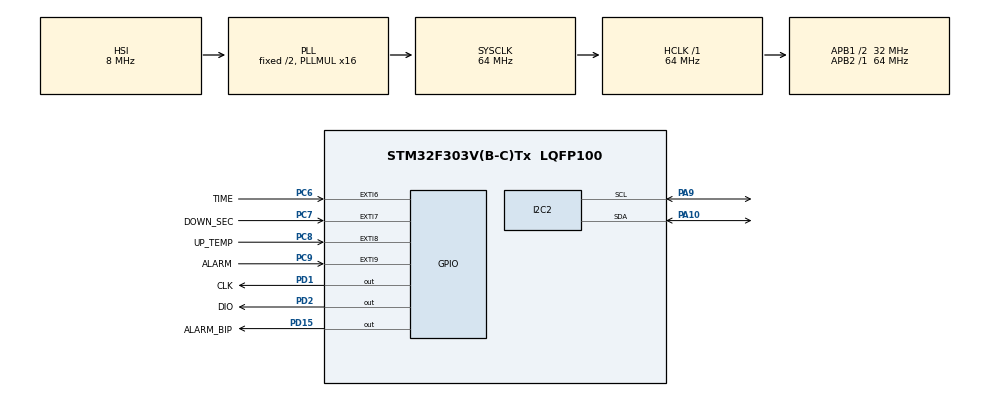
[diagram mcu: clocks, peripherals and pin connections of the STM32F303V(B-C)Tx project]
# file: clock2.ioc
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I2C2.Timing=0x2000090E
Mcu.Family=STM32F3
Mcu.Name=STM32F303V(B-C)Tx
Mcu.Package=LQFP100
NVIC.EXTI9_5_IRQn=true\:0\:0\:false\:false\:true
NVIC.I2C2_ER_IRQn=true\:0\:0\:false\:false\:true
NVIC.I2C2_EV_IRQn=true\:0\:0\:false\:false\:true
NVIC.PriorityGroup=NVIC_PRIORITYGROUP_4
PA10.Mode=I2C
PA10.Signal=I2C2_SDA
PA9.Mode=I2C
PA9.Signal=I2C2_SCL
PC6.GPIO_Label=TIME
PC6.Signal=GPXTI6
PC7.GPIO_Label=DOWN_SEC
PC7.Signal=GPXTI7
PC8.GPIO_Label=UP_TEMP
PC8.Signal=GPXTI8
PC9.GPIO_Label=ALARM
PC9.Signal=GPXTI9
PD1.GPIO_Label=CLK
PD1.Signal=GPIO_Output
PD15.GPIO_Label=ALARM_BIP
PD15.Signal=GPIO_Output
PD2.GPIO_Label=DIO
PD2.Signal=GPIO_Output
ProjectManager.HeapSize=0x200
ProjectManager.StackSize=0x400
ProjectManager.TargetToolchain=SW4STM32
RCC.AHBFreq_Value=64000000
RCC.APB1CLKDivider=RCC_HCLK_DIV2
RCC.APB1Freq_Value=32000000
RCC.APB1TimFreq_Value=64000000
RCC.APB2Freq_Value=64000000
RCC.APB2TimFreq_Value=64000000
RCC.CortexFreq_Value=64000000
RCC.HCLKFreq_Value=64000000
RCC.HSE_VALUE=8000000
RCC.HSI_VALUE=8000000
RCC.LSE_VALUE=32768
RCC.PLLMUL=RCC_PLL_MUL16
RCC.SYSCLKFreq_VALUE=64000000
RCC.SYSCLKSourceVirtual=RCC_SYSCLKSOURCE_PLLCLK
RCC.USBFreq_Value=64000000
board=clock2

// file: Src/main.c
/**
  ******************************************************************************
  * File Name          : main.c
  * Description        : Main program body
  ******************************************************************************
  *
  * COPYRIGHT(c) 2017 STMicroelectronics
  *
  * Redistribution and use in source and binary forms, with or without modification,
  * are permitted provided that the following conditions are met:
  *   1. Redistributions of source code must retain the above copyright notice,
  *      this list of conditions and the following disclaimer.
  *   2. Redistributions in binary form must reproduce the above copyright notice,
  *      this list of conditions and the following disclaimer in the documentation
  *      and/or other materials provided with the distribution.
  *   3. Neither the name of STMicroelectronics nor the names of its contributors
  *      may be used to endorse or promote products derived from this software
  *      without specific prior written permission.
  *
  * THIS SOFTWARE IS PROVIDED BY THE COPYRIGHT HOLDERS AND CONTRIBUTORS "AS IS"
  * AND ANY EXPRESS OR IMPLIED WARRANTIES, INCLUDING, BUT NOT LIMITED TO, THE
  * IMPLIED WARRANTIES OF MERCHANTABILITY AND FITNESS FOR A PARTICULAR PURPOSE ARE
  * DISCLAIMED. IN NO EVENT SHALL THE COPYRIGHT HOLDER OR CONTRIBUTORS BE LIABLE
  * FOR ANY DIRECT, INDIRECT, INCIDENTAL, SPECIAL, EXEMPLARY, OR CONSEQUENTIAL
  * DAMAGES (INCLUDING, BUT NOT LIMITED TO, PROCUREMENT OF SUBSTITUTE GOODS OR
  * SERVICES; LOSS OF USE, DATA, OR PROFITS; OR BUSINESS INTERRUPTION) HOWEVER
  * CAUSED AND ON ANY THEORY OF LIABILITY, WHETHER IN CONTRACT, STRICT LIABILITY,
  * OR TORT (INCLUDING NEGLIGENCE OR OTHERWISE) ARISING IN ANY WAY OUT OF THE USE
  * OF THIS SOFTWARE, EVEN IF ADVISED OF THE POSSIBILITY OF SUCH DAMAGE.
  *
  ******************************************************************************
  */
#include "main.h"
#include "stm32f3xx_hal.h"
#include "i2c.h"
#include "gpio.h"

/* USER CODE BEGIN Includes */
#include "stm32_tm1637.h"
#include "RTC.h"
/* USER CODE END Includes */

/* USER CODE BEGIN PV */
/* Private variables ---------------------------------------------------------*/
int seconds, minutes, hours;
uint8_t aTxBuffer[8];
/* USER CODE END PV */

void SystemClock_Config(void);
void Error_Handler(void);

/* USER CODE BEGIN PFP */
/* Private function prototypes -----------------------------------------------*/
const int TIME_MODE = 0;
const int SEC_MODE = 1;
const int SET_MODE = 2;
const int ALARM_MODE = 3;
const int BIP_MODE = 4;

volatile int clk_mode = 0;

void HAL_GPIO_EXTI_Callback(uint16_t GPIO_Pin)
{
	printf("%d\n", clk_mode);
	if(clk_mode == TIME_MODE){
		if(GPIO_Pin == DOWN_SEC_Pin)
		{
			while(HAL_GPIO_ReadPin(DOWN_SEC_GPIO_Port, DOWN_SEC_Pin) == GPIO_PIN_SET)
			{
				HAL_I2C_Mem_Read(&hi2c2, (uint16_t)(0xD0), (uint16_t)0X00, I2C_MEMADD_SIZE_8BIT, aTxBuffer, 7, 500);
				seconds = RTC_ConvertFromDec(aTxBuffer[0]);
				tm1637DisplaySeconds(seconds, 1);
			}
		}
		else if(GPIO_Pin == UP_TEMP_Pin)
		{
			while(HAL_GPIO_ReadPin(UP_TEMP_GPIO_Port, UP_TEMP_Pin) == GPIO_PIN_SET)
			{
				HAL_I2C_Mem_Read(&hi2c2, (uint16_t)(0xD0), (uint16_t)(0X11), I2C_MEMADD_SIZE_8BIT, aTxBuffer, 2, 500);
				int MSB = aTxBuffer[0];
				int LSB = aTxBuffer[1];
				int temperature =  (MSB << 8)/256;
				printf("%d\n", temperature);
				tm1637DisplaySeconds(temperature, 1);
			}
		}
		else if(GPIO_Pin == TIME_Pin)
		{
			clk_mode = SET_MODE;
		}
		else if(GPIO_Pin == ALARM_Pin){
			printf("%d %d", minutes, hours);
			clk_mode = ALARM_MODE;
		}
	}
	else if(clk_mode == BIP_MODE){
		clk_mode = TIME_MODE;
	}
	else if(GPIO_Pin == TIME_Pin) {
		aTxBuffer[0] = RTC_ConvertFromBinDec(seconds);
		aTxBuffer[1] = RTC_ConvertFromBinDec(minutes);
		aTxBuffer[2] = RTC_ConvertFromBinDec(hours);
		HAL_I2C_Mem_Write(&hi2c2, (uint16_t)(0xD0), (uint16_t)0X00, I2C_MEMADD_SIZE_8BIT, aTxBuffer, 3, 500);
		clk_mode = TIME_MODE;
	}
	else if(GPIO_Pin == ALARM_Pin) {
		aTxBuffer[0] = RTC_ConvertFromBinDec(0);
		aTxBuffer[1] = RTC_ConvertFromBinDec(minutes);
		aTxBuffer[2] = RTC_ConvertFromBinDec(hours);
		HAL_I2C_Mem_Write(&hi2c2, (uint16_t)(0xD0), (uint16_t)0X07, I2C_MEMADD_SIZE_8BIT, aTxBuffer, 3, 500);
		clk_mode = TIME_MODE;
	}
}

/* USER CODE END PFP */

int main(void)
{

  /* MCU Configuration----------------------------------------------------------*/

  /* Reset of all peripherals, Initializes the Flash interface and the Systick. */
  HAL_Init();

  /* Configure the system clock */
  SystemClock_Config();

  /* Initialize all configured peripherals */
  MX_GPIO_Init();
  MX_I2C2_Init();

  /* USER CODE BEGIN 2 */
  tm1637Init();
  /* USER CODE END 2 */

  /* Infinite loop */
  /* USER CODE BEGIN WHILE */
  while (1)
  {
		//tm1637DisplayDecimal(2, 1);
		//tm1637DisplayDecimal(i, 1);
		//i++;

		/*while(1){
			HAL_GPIO_WritePin(ALARM_BIP_GPIO_Port, ALARM_BIP_Pin, GPIO_PIN_SET);
			HAL_Delay(100);
			HAL_GPIO_WritePin(ALARM_BIP_GPIO_Port, ALARM_BIP_Pin, GPIO_PIN_RESET);
			HAL_Delay(100);
		}*/
		HAL_I2C_Mem_Read(&hi2c2, (uint16_t)(0xD0), (uint16_t)0X00, I2C_MEMADD_SIZE_8BIT, aTxBuffer, 7, 500);
		seconds = RTC_ConvertFromDec(aTxBuffer[0]);
		minutes = RTC_ConvertFromDec(aTxBuffer[1]);
		hours = RTC_ConvertFromDec(aTxBuffer[2]);
		if(clk_mode == ALARM_MODE){
			HAL_I2C_Mem_Read(&hi2c2, (uint16_t)(0xD0), (uint16_t)0X07, I2C_MEMADD_SIZE_8BIT, aTxBuffer, 3, 500);
			minutes = RTC_ConvertFromDec(aTxBuffer[1]);
			hours = RTC_ConvertFromDec(aTxBuffer[2]);
		}
		while(clk_mode == SET_MODE || clk_mode == ALARM_MODE)
		{
			HAL_I2C_Mem_Read(&hi2c2, (uint16_t)(0xD0), (uint16_t)0X00, I2C_MEMADD_SIZE_8BIT, aTxBuffer, 7, 500);
			if(HAL_GPIO_ReadPin(DOWN_SEC_GPIO_Port, DOWN_SEC_Pin)){
				hours++;
				hours%=24;
			}
			if(HAL_GPIO_ReadPin(UP_TEMP_GPIO_Port, UP_TEMP_Pin)){
				minutes++;
				minutes%=60;
			}
			seconds = RTC_ConvertFromDec(aTxBuffer[0]);
			tm1637DisplayTime(hours, minutes, seconds%2);
			HAL_Delay(100);
		}

		HAL_I2C_Mem_Read(&hi2c2, (uint16_t)(0xD0), (uint16_t)(0X11), I2C_MEMADD_SIZE_8BIT, aTxBuffer, 2, 500);
		int MSB = aTxBuffer[0];
		int LSB = aTxBuffer[1];
		printf("%d\n", MSB);

		tm1637DisplayTime(hours, minutes, 1);

  /* USER CODE END WHILE */

  }

}

/** System Clock Configuration
*/
void SystemClock_Config(void)
{

  RCC_OscInitTypeDef RCC_OscInitStruct;
  RCC_ClkInitTypeDef RCC_ClkInitStruct;
  RCC_PeriphCLKInitTypeDef PeriphClkInit;

    /**Initializes the CPU, AHB and APB busses clocks
    */
  RCC_OscInitStruct.OscillatorType = RCC_OSCILLATORTYPE_HSI;
  RCC_OscInitStruct.HSIState = RCC_HSI_ON;
  RCC_OscInitStruct.HSICalibrationValue = 16;
  RCC_OscInitStruct.PLL.PLLState = RCC_PLL_ON;
  RCC_OscInitStruct.PLL.PLLSource = RCC_PLLSOURCE_HSI;
  RCC_OscInitStruct.PLL.PLLMUL = RCC_PLL_MUL16;
  if (HAL_RCC_OscConfig(&RCC_OscInitStruct) != HAL_OK)
  {
    Error_Handler();
  }

    /**Initializes the CPU, AHB and APB busses clocks
    */
  RCC_ClkInitStruct.ClockType = RCC_CLOCKTYPE_HCLK|RCC_CLOCKTYPE_SYSCLK
                              |RCC_CLOCKTYPE_PCLK1|RCC_CLOCKTYPE_PCLK2;
  RCC_ClkInitStruct.SYSCLKSource = RCC_SYSCLKSOURCE_PLLCLK;
  RCC_ClkInitStruct.AHBCLKDivider = RCC_SYSCLK_DIV1;
  RCC_ClkInitStruct.APB1CLKDivider = RCC_HCLK_DIV2;
  RCC_ClkInitStruct.APB2CLKDivider = RCC_HCLK_DIV1;

  if (HAL_RCC_ClockConfig(&RCC_ClkInitStruct, FLASH_LATENCY_2) != HAL_OK)
  {
    Error_Handler();
  }

  PeriphClkInit.PeriphClockSelection = RCC_PERIPHCLK_I2C2;
  PeriphClkInit.I2c2ClockSelection = RCC_I2C2CLKSOURCE_HSI;
  if (HAL_RCCEx_PeriphCLKConfig(&PeriphClkInit) != HAL_OK)
  {
    Error_Handler();
  }

    /**Configure the Systick interrupt time
    */
  HAL_SYSTICK_Config(HAL_RCC_GetHCLKFreq()/1000);

    /**Configure the Systick
    */
  HAL_SYSTICK_CLKSourceConfig(SYSTICK_CLKSOURCE_HCLK);

  /* SysTick_IRQn interrupt configuration */
  HAL_NVIC_SetPriority(SysTick_IRQn, 0, 0);
}

void Error_Handler(void)
{
  while(1)
  {
  }
}

/************************ (C) COPYRIGHT STMicroelectronics *****END OF FILE****/
